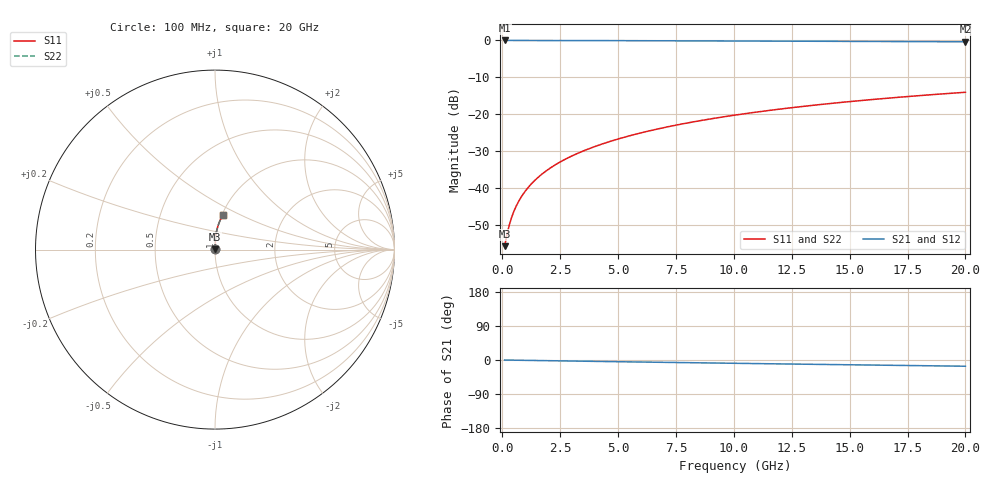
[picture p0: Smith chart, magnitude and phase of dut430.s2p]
! Touchstone file exported from HFSS 2024.1.0
!  File:  C:/UserFiles/LocalFiles/RDL_TSV_Batchsim/temp_RDL_top_430_1779676323.aedt
!  Generated:  10:34:21 AM May 25, 2026
!  Design:  RDL_top
!  Project:  temp_RDL_top_430_1779676323
!  Setup:  Setup1
!  Solution:  Sweep
! Variables:
!  dtsv = 10.80580581um
!  hbump = 3um
!  htsv = 80.08um
!  ldown = 100um
!  lrdl = 173.49um
!  p = 40
!  p1 = 56.25um
!  rhole = 1um
!  t = 450um
!  tdown = 3.915915916um
!  trdl = 2.71um
!  wdown = 15.38538539um
!  wrdl = 21.51um
# GHz S MA R 50.000000
! Terminal data exported
! Port[1] = Box2_T1
! Port[2] = Box2_T2
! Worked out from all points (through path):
!   200 points, 100 MHz to 20 GHz, reference 50 ohm
!   highest |S21| = -0.01 dB at 100 MHz (marker M1); lowest = -0.4 dB at 20 GHz (marker M2)
!   group delay of S21, straight-line fit = 2.27 ps
!   lowest |S11| = -55.6 dB at 100 MHz (marker M3), VSWR 1.00, Z = 50.1 + j0.0965 ohm
!   |S11| at or under -10 dB: start of sweep to end of sweep
!   |S22| runs from -55.6 to -14.0 dB; largest |S21 - S12| = 3.9e-15
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0.1  0.001657 35.5  0.9986 -0.1  0.9986 -0.1  0.001657 35.5
! Gamma 0 0 0 0
! Port Impedance 50 0 50 0
0.2  0.002359 54.1  0.9986 -0.2  0.9986 -0.2  0.002359 54.1
0.3  0.003179 63.4  0.9986 -0.3  0.9986 -0.3  0.003179 63.4
0.4  0.004032 68.7  0.9985 -0.4  0.9985 -0.4  0.004032 68.7
0.5  0.004894 72.2  0.9984 -0.5  0.9984 -0.5  0.004894 72.2
0.6  0.00576 74.6  0.9984 -0.6  0.9984 -0.6  0.00576 74.6
0.8  0.007502 78.0  0.9982 -0.8  0.9982 -0.8  0.007502 78.0
1.1  0.01014 81.0  0.998 -1.0  0.998 -1.0  0.01014 81.0
1.5  0.0137 83.4  0.9978 -1.4  0.9978 -1.4  0.0137 83.4
1.8  0.0164 84.5  0.9975 -1.7  0.9975 -1.7  0.0164 84.5
2.1  0.01911 85.4  0.9972 -1.9  0.9972 -1.9  0.01911 85.4
2.7  0.02462 86.5  0.9965 -2.5  0.9965 -2.5  0.02462 86.5
3.5  0.03209 87.3  0.9954 -3.2  0.9954 -3.2  0.03209 87.3
4.2  0.03876 87.7  0.9942 -3.8  0.9942 -3.8  0.03876 87.7
5  0.04652 87.9  0.9928 -4.5  0.9928 -4.5  0.04652 87.9
5.9  0.05542 87.8  0.991 -5.3  0.991 -5.3  0.05542 87.8
6.8  0.06447 87.5  0.9891 -6.1  0.9891 -6.1  0.06447 87.5
8.4  0.08083 86.7  0.9856 -7.4  0.9856 -7.4  0.08083 86.7
10.1  0.09841 85.5  0.9818 -8.8  0.9818 -8.8  0.09841 85.6
13.4  0.1326 82.9  0.9742 -11.4  0.9742 -11.4  0.1326 82.9
16.7  0.1663 80.0  0.9664 -13.9  0.9664 -13.9  0.1663 80.0
20  0.1992 77.2  0.9582 -16.5  0.9582 -16.5  0.1992 77.2
